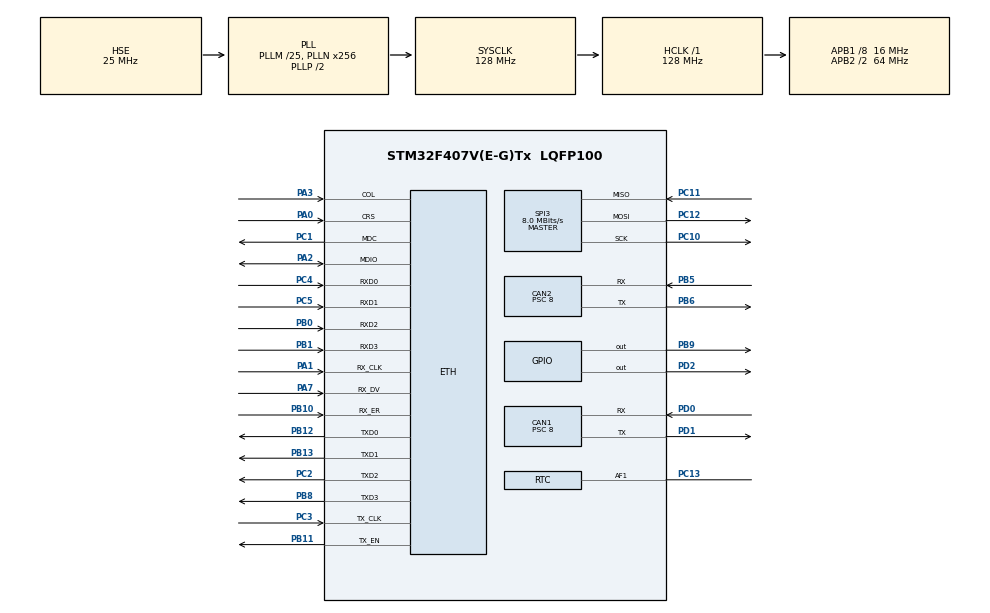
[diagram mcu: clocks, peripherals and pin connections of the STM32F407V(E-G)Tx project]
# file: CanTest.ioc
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CAN1.BS1=CAN_BS1_13TQ
CAN1.BS2=CAN_BS2_2TQ
CAN1.CalculateTimeQuantum=500.0
CAN1.Mode=CAN_MODE_SILENT
CAN1.Prescaler=8
CAN2.BS1=CAN_BS1_13TQ
CAN2.BS2=CAN_BS2_2TQ
CAN2.CalculateTimeQuantum=500.0
CAN2.Mode=CAN_MODE_NORMAL
CAN2.Prescaler=8
ETH.AutoNegotiation=ETH_AUTONEGOTIATION_ENABLE
ETH.MediaInterface=ETH_MEDIA_INTERFACE_MII
ETH.PHY_Name_MII=userPHY
FREERTOS.Tasks01=defaultTask,0,256,StartDefaultTask,Default,NULL,Dynamic,NULL,NULL;spiTask,0,256,SPISheduler,Default,NULL,Dynamic,NULL,NULL
FREERTOS.configTOTAL_HEAP_SIZE=32768
LWIP.GATEWAY_ADDRESS=192.168.100.001
LWIP.IP_ADDRESS=192.168.100.087
LWIP.LWIP_DHCP=0
LWIP.LWIP_TCP=0
LWIP.MEMP_NUM_PBUF=24
LWIP.MEMP_NUM_TCP_PCB=1
LWIP.MEMP_NUM_TCP_PCB_LISTEN=1
LWIP.MEMP_NUM_TCP_SEG=4
LWIP.MEM_SIZE=8192
LWIP.NETMASK_ADDRESS=255.255.255.000
LWIP.Version=v2.0.3_Cube
Mcu.Family=STM32F4
Mcu.Name=STM32F407V(E-G)Tx
Mcu.Package=LQFP100
NVIC.CAN1_RX0_IRQn=true\:5\:0\:false\:false\:true\:true\:true
NVIC.CAN1_RX1_IRQn=true\:5\:0\:false\:false\:true\:true\:true
NVIC.CAN2_TX_IRQn=true\:5\:0\:false\:false\:true\:true\:true
NVIC.ETH_IRQn=true\:5\:0\:false\:false\:true\:true\:false
NVIC.PriorityGroup=NVIC_PRIORITYGROUP_4
NVIC.TIM1_UP_TIM10_IRQn=true\:0\:0\:false\:false\:true\:false\:false
NVIC.TimeBase=TIM1_UP_TIM10_IRQn
NVIC.TimeBaseIP=TIM1
PA0-WKUP.Mode=MII
PA0-WKUP.Signal=ETH_CRS
PA1.Mode=MII
PA1.Signal=ETH_RX_CLK
PA2.Mode=MII
PA2.Signal=ETH_MDIO
PA3.Mode=MII
PA3.Signal=ETH_COL
PA7.Mode=MII
PA7.Signal=ETH_RX_DV
PB0.Mode=MII
PB0.Signal=ETH_RXD2
PB1.Mode=MII
PB1.Signal=ETH_RXD3
PB10.Mode=Activate Rx Err signal
PB10.Signal=ETH_RX_ER
PB11.Mode=MII
PB11.Signal=ETH_TX_EN
PB12.Mode=MII
PB12.Signal=ETH_TXD0
PB13.Mode=MII
PB13.Signal=ETH_TXD1
PB5.Mode=Slave
PB5.Signal=CAN2_RX
PB6.Mode=Slave
PB6.Signal=CAN2_TX
PB8.Mode=MII
PB8.Signal=ETH_TXD3
PB9.Signal=GPIO_Output
PC1.Mode=MII
PC1.Signal=ETH_MDC
PC10.Mode=Full_Duplex_Master
PC10.Signal=SPI3_SCK
PC11.Mode=Full_Duplex_Master
PC11.Signal=SPI3_MISO
PC12.Mode=Full_Duplex_Master
PC12.Signal=SPI3_MOSI
PC13-ANTI_TAMP.Mode=Calibration_1Hz
PC13-ANTI_TAMP.Signal=RTC_AF1
PC2.Mode=MII
PC2.Signal=ETH_TXD2
PC3.Mode=MII
PC3.Signal=ETH_TX_CLK
PC4.Mode=MII
PC4.Signal=ETH_RXD0
PC5.Mode=MII
PC5.Signal=ETH_RXD1
PD0.Mode=Master
PD0.Signal=CAN1_RX
PD1.Mode=Master
PD1.Signal=CAN1_TX
PD2.Signal=GPIO_Output
PH0-OSC_IN.Mode=HSE-External-Oscillator
PH0-OSC_IN.Signal=RCC_OSC_IN
PH1-OSC_OUT.Mode=HSE-External-Oscillator
PH1-OSC_OUT.Signal=RCC_OSC_OUT
ProjectManager.HeapSize=0x2000
ProjectManager.StackSize=0x4000
ProjectManager.TargetToolchain=TrueSTUDIO
RCC.48MHZClocksFreq_Value=64000000
RCC.AHBFreq_Value=128000000
RCC.APB1CLKDivider=RCC_HCLK_DIV8
RCC.APB1Freq_Value=16000000
RCC.APB1TimFreq_Value=32000000
RCC.APB2CLKDivider=RCC_HCLK_DIV2
RCC.APB2Freq_Value=64000000
RCC.APB2TimFreq_Value=128000000
RCC.CortexFreq_Value=128000000
RCC.HCLKFreq_Value=128000000
RCC.HSE_VALUE=25000000
RCC.HSI_VALUE=16000000
RCC.LSE_VALUE=32768
RCC.PLLM=25
RCC.PLLN=256
RCC.PLLSourceVirtual=RCC_PLLSOURCE_HSE
RCC.RCC_RTC_Clock_SourceVirtual=RCC_RTCCLKSOURCE_HSE_DIV25
RCC.RCC_RTC_Clock_Source_FROM_HSE=RCC_RTCCLKSOURCE_HSE_DIV25
RCC.SYSCLKFreq_VALUE=128000000
RCC.SYSCLKSource=RCC_SYSCLKSOURCE_PLLCLK
RCC.VCOOutputFreq_Value=256000000
RTC.AsynchPrediv=99
RTC.SynchPrediv=9999
SPI3.CalculateBaudRate=8.0 MBits/s
SPI3.Direction=SPI_DIRECTION_2LINES
SPI3.Mode=SPI_MODE_MASTER
SPI3.VirtualType=VM_MASTER
VP_FREERTOS_VS_ENABLE.Mode=Enabled
VP_LWIP_VS_Enabled.Mode=Enabled
VP_RTC_VS_RTC_Activate.Mode=RTC_Enabled
VP_SYS_VS_tim1.Mode=TIM1
board=custom

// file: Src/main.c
/**
  ******************************************************************************
  * @file           : main.c
  * @brief          : Main program body
  ******************************************************************************
  * This notice applies to any and all portions of this file
  * that are not between comment pairs USER CODE BEGIN and
  * USER CODE END. Other portions of this file, whether
  * inserted by the user or by software development tools
  * are owned by their respective copyright owners.
  *
  * Copyright (c) 2018 STMicroelectronics International N.V.
  * All rights reserved.
  *
  * Redistribution and use in source and binary forms, with or without
  * modification, are permitted, provided that the following conditions are met:
  *
  * 1. Redistribution of source code must retain the above copyright notice,
  *    this list of conditions and the following disclaimer.
  * 2. Redistributions in binary form must reproduce the above copyright notice,
  *    this list of conditions and the following disclaimer in the documentation
  *    and/or other materials provided with the distribution.
  * 3. Neither the name of STMicroelectronics nor the names of other
  *    contributors to this software may be used to endorse or promote products
  *    derived from this software without specific written permission.
  * 4. This software, including modifications and/or derivative works of this
  *    software, must execute solely and exclusively on microcontroller or
  *    microprocessor devices manufactured by or for STMicroelectronics.
  * 5. Redistribution and use of this software other than as permitted under
  *    this license is void and will automatically terminate your rights under
  *    this license.
  *
  * THIS SOFTWARE IS PROVIDED BY STMICROELECTRONICS AND CONTRIBUTORS "AS IS"
  * AND ANY EXPRESS, IMPLIED OR STATUTORY WARRANTIES, INCLUDING, BUT NOT
  * LIMITED TO, THE IMPLIED WARRANTIES OF MERCHANTABILITY, FITNESS FOR A
  * PARTICULAR PURPOSE AND NON-INFRINGEMENT OF THIRD PARTY INTELLECTUAL PROPERTY
  * RIGHTS ARE DISCLAIMED TO THE FULLEST EXTENT PERMITTED BY LAW. IN NO EVENT
  * SHALL STMICROELECTRONICS OR CONTRIBUTORS BE LIABLE FOR ANY DIRECT, INDIRECT,
  * INCIDENTAL, SPECIAL, EXEMPLARY, OR CONSEQUENTIAL DAMAGES (INCLUDING, BUT NOT
  * LIMITED TO, PROCUREMENT OF SUBSTITUTE GOODS OR SERVICES; LOSS OF USE, DATA,
  * OR PROFITS; OR BUSINESS INTERRUPTION) HOWEVER CAUSED AND ON ANY THEORY OF
  * LIABILITY, WHETHER IN CONTRACT, STRICT LIABILITY, OR TORT (INCLUDING
  * NEGLIGENCE OR OTHERWISE) ARISING IN ANY WAY OUT OF THE USE OF THIS SOFTWARE,
  * EVEN IF ADVISED OF THE POSSIBILITY OF SUCH DAMAGE.
  *
  ******************************************************************************
  */
#include "main.h"
#include "stm32f4xx_hal.h"
#include "cmsis_os.h"
#include "lwip.h"

/* USER CODE BEGIN Includes */

#include "spi_flash.h"
#include "udp_echoserver.h"
#include "canViewer.h"
#include "canDebugMaster.h"
#include "canLogger.h"
#include "datetime.h"
#include "flash_if.h"

/* USER CODE END Includes */

CAN_HandleTypeDef hcan1;
CAN_HandleTypeDef hcan2;

RTC_HandleTypeDef hrtc;

SPI_HandleTypeDef hspi3;

osThreadId defaultTaskHandle;
osThreadId spiTaskHandle;

/* USER CODE BEGIN PV */
/* Private variables ---------------------------------------------------------*/

osThreadId canDebugTaskHandle;
osThreadId canViewerTaskHandle;
osThreadId canLoggerTaskHandle;
osThreadId datetimeTaskHandle;

unsigned short led_cnt=0;
unsigned short led_limit = 2000;

unsigned char fl_buf[528];
unsigned short pageNumber=0;
unsigned short buf_cnt=0;

/* USER CODE END PV */

void SystemClock_Config(void);
static void MX_GPIO_Init(void);
static void MX_SPI3_Init(void);
static void MX_CAN1_Init(void);
static void MX_CAN2_Init(void);
static void MX_RTC_Init(void);
void StartDefaultTask(void const * argument);
void SPISheduler(void const * argument);

/* USER CODE BEGIN PFP */
/* Private function prototypes -----------------------------------------------*/

/* USER CODE END PFP */

int main(void)
{

  /* MCU Configuration----------------------------------------------------------*/

  /* Reset of all peripherals, Initializes the Flash interface and the Systick. */
  HAL_Init();

  /* Configure the system clock */
  SystemClock_Config();

  /* Initialize all configured peripherals */
  MX_GPIO_Init();
  MX_SPI3_Init();
  MX_CAN1_Init();
  MX_CAN2_Init();
  MX_RTC_Init();
  /* USER CODE BEGIN 2 */

  FLASH_If_Init();
  HAL_FLASH_Program(FLASH_TYPEPROGRAM_WORD, 0x8010000,  0x01020304);

  if(!(*(volatile uint32_t *) (BDCR_RTCEN_BB)))__HAL_RCC_RTC_ENABLE();
  initLogger();

  /* USER CODE END 2 */

  /* Create the thread(s) */
  /* definition and creation of defaultTask */
  osThreadDef(defaultTask, StartDefaultTask, osPriorityNormal, 0, 256);
  defaultTaskHandle = osThreadCreate(osThread(defaultTask), NULL);

  /* definition and creation of spiTask */
  osThreadDef(spiTask, SPISheduler, osPriorityNormal, 0, 256);
  spiTaskHandle = osThreadCreate(osThread(spiTask), NULL);

  /* USER CODE BEGIN RTOS_THREADS */
  osThreadDef(canViewer, canViewerTask, osPriorityNormal, 0, 256);
  canViewerTaskHandle = osThreadCreate(osThread(canViewer), NULL);

  osThreadDef(canDebugger, canDebugTask, osPriorityNormal, 0, 256);
  canDebugTaskHandle = osThreadCreate(osThread(canDebugger), NULL);

  osThreadDef(canLog, canLoggerTask, osPriorityNormal, 0, 256);
  canLoggerTaskHandle = osThreadCreate(osThread(canLog), NULL);

  osThreadDef(dateTime, datetimeTask, osPriorityNormal, 0, 256);
  datetimeTaskHandle = osThreadCreate(osThread(dateTime), NULL);
  /* add threads, ... */
  /* USER CODE END RTOS_THREADS */

  /* Start scheduler */
  osKernelStart();

  /* We should never get here as control is now taken by the scheduler */

  /* Infinite loop */
  while (1)
  {

  }

}

void SystemClock_Config(void)
{

  RCC_OscInitTypeDef RCC_OscInitStruct;
  RCC_ClkInitTypeDef RCC_ClkInitStruct;
  RCC_PeriphCLKInitTypeDef PeriphClkInitStruct;

    /**Configure the main internal regulator output voltage
    */
  __HAL_RCC_PWR_CLK_ENABLE();

  __HAL_PWR_VOLTAGESCALING_CONFIG(PWR_REGULATOR_VOLTAGE_SCALE1);

    /**Initializes the CPU, AHB and APB busses clocks
    */
  RCC_OscInitStruct.OscillatorType = RCC_OSCILLATORTYPE_HSE;
  RCC_OscInitStruct.HSEState = RCC_HSE_ON;
  RCC_OscInitStruct.PLL.PLLState = RCC_PLL_ON;
  RCC_OscInitStruct.PLL.PLLSource = RCC_PLLSOURCE_HSE;
  RCC_OscInitStruct.PLL.PLLM = 25;
  RCC_OscInitStruct.PLL.PLLN = 256;
  RCC_OscInitStruct.PLL.PLLP = RCC_PLLP_DIV2;
  RCC_OscInitStruct.PLL.PLLQ = 4;
  if (HAL_RCC_OscConfig(&RCC_OscInitStruct) != HAL_OK)
  {
    _Error_Handler(__FILE__, __LINE__);
  }

    /**Initializes the CPU, AHB and APB busses clocks
    */
  RCC_ClkInitStruct.ClockType = RCC_CLOCKTYPE_HCLK|RCC_CLOCKTYPE_SYSCLK
                              |RCC_CLOCKTYPE_PCLK1|RCC_CLOCKTYPE_PCLK2;
  RCC_ClkInitStruct.SYSCLKSource = RCC_SYSCLKSOURCE_PLLCLK;
  RCC_ClkInitStruct.AHBCLKDivider = RCC_SYSCLK_DIV1;
  RCC_ClkInitStruct.APB1CLKDivider = RCC_HCLK_DIV8;
  RCC_ClkInitStruct.APB2CLKDivider = RCC_HCLK_DIV2;

  if (HAL_RCC_ClockConfig(&RCC_ClkInitStruct, FLASH_LATENCY_4) != HAL_OK)
  {
    _Error_Handler(__FILE__, __LINE__);
  }

  PeriphClkInitStruct.PeriphClockSelection = RCC_PERIPHCLK_RTC;
  PeriphClkInitStruct.RTCClockSelection = RCC_RTCCLKSOURCE_HSE_DIV25;
  if (HAL_RCCEx_PeriphCLKConfig(&PeriphClkInitStruct) != HAL_OK)
  {
    _Error_Handler(__FILE__, __LINE__);
  }

    /**Configure the Systick interrupt time
    */
  HAL_SYSTICK_Config(HAL_RCC_GetHCLKFreq()/1000);

    /**Configure the Systick
    */
  HAL_SYSTICK_CLKSourceConfig(SYSTICK_CLKSOURCE_HCLK);

  /* SysTick_IRQn interrupt configuration */
  HAL_NVIC_SetPriority(SysTick_IRQn, 15, 0);
}

/* CAN1 init function */
static void MX_CAN1_Init(void)
{

  hcan1.Instance = CAN1;
  hcan1.Init.Prescaler = 8;
  hcan1.Init.Mode = CAN_MODE_SILENT;
  hcan1.Init.SyncJumpWidth = CAN_SJW_1TQ;
  hcan1.Init.TimeSeg1 = CAN_BS1_13TQ;
  hcan1.Init.TimeSeg2 = CAN_BS2_2TQ;
  hcan1.Init.TimeTriggeredMode = DISABLE;
  hcan1.Init.AutoBusOff = DISABLE;
  hcan1.Init.AutoWakeUp = DISABLE;
  hcan1.Init.AutoRetransmission = DISABLE;
  hcan1.Init.ReceiveFifoLocked = DISABLE;
  hcan1.Init.TransmitFifoPriority = DISABLE;
  if (HAL_CAN_Init(&hcan1) != HAL_OK)
  {
    _Error_Handler(__FILE__, __LINE__);
  }

}

/* CAN2 init function */
static void MX_CAN2_Init(void)
{

  hcan2.Instance = CAN2;
  hcan2.Init.Prescaler = 8;
  hcan2.Init.Mode = CAN_MODE_NORMAL;
  hcan2.Init.SyncJumpWidth = CAN_SJW_1TQ;
  hcan2.Init.TimeSeg1 = CAN_BS1_13TQ;
  hcan2.Init.TimeSeg2 = CAN_BS2_2TQ;
  hcan2.Init.TimeTriggeredMode = DISABLE;
  hcan2.Init.AutoBusOff = DISABLE;
  hcan2.Init.AutoWakeUp = DISABLE;
  hcan2.Init.AutoRetransmission = DISABLE;
  hcan2.Init.ReceiveFifoLocked = DISABLE;
  hcan2.Init.TransmitFifoPriority = DISABLE;
  if (HAL_CAN_Init(&hcan2) != HAL_OK)
  {
    _Error_Handler(__FILE__, __LINE__);
  }

}

/* RTC init function */
static void MX_RTC_Init(void)
{

  /* USER CODE BEGIN RTC_Init 0 */

	RTC_DateTypeDef sDate;
	  RTC_TimeTypeDef sTime;

  /* USER CODE END RTC_Init 0 */

    /**Initialize RTC Only
    */
  hrtc.Instance = RTC;
  hrtc.Init.HourFormat = RTC_HOURFORMAT_24;
  hrtc.Init.AsynchPrediv = 99;
  hrtc.Init.SynchPrediv = 9999;
  hrtc.Init.OutPut = RTC_OUTPUT_DISABLE;
  hrtc.Init.OutPutPolarity = RTC_OUTPUT_POLARITY_HIGH;
  hrtc.Init.OutPutType = RTC_OUTPUT_TYPE_OPENDRAIN;
  if (HAL_RTC_Init(&hrtc) != HAL_OK)
  {
    _Error_Handler(__FILE__, __LINE__);
  }
  /* USER CODE BEGIN RTC_Init 2 */

  HAL_RTCEx_EnableBypassShadow(&hrtc);

  if(HAL_RTCEx_BKUPRead(&hrtc, RTC_BKP_DR1) != 0x32F3)
  {
	sTime.Hours = 0;
	sTime.Minutes = 00;
	sTime.Seconds = 0;
	sTime.DayLightSaving = RTC_DAYLIGHTSAVING_NONE;
	sTime.StoreOperation = RTC_STOREOPERATION_RESET;
	HAL_RTC_SetTime(&hrtc, &sTime, RTC_FORMAT_BIN);

	//sDate.WeekDay = RTC_WEEKDAY_MONDAY;
	sDate.Month = 1;
	sDate.Date = 1;
	sDate.Year = 00;

	HAL_RTC_SetDate(&hrtc, &sDate, RTC_FORMAT_BIN);
	HAL_RTCEx_BKUPWrite(&hrtc, RTC_BKP_DR1, 0x32F3);
	HAL_RTCEx_BKUPWrite(&hrtc, RTC_BKP_DR2, 0);
  }

  pageNumber = HAL_RTCEx_BKUPRead(&hrtc, RTC_BKP_DR2);
  if(pageNumber>=8192) pageNumber = 0;

  /* USER CODE END RTC_Init 2 */

    /**Enable Calibrartion
    */
  if (HAL_RTCEx_SetCalibrationOutPut(&hrtc, RTC_CALIBOUTPUT_1HZ) != HAL_OK)
  {
    _Error_Handler(__FILE__, __LINE__);
  }

}

/* SPI3 init function */
static void MX_SPI3_Init(void)
{

  /* SPI3 parameter configuration*/
  hspi3.Instance = SPI3;
  hspi3.Init.Mode = SPI_MODE_MASTER;
  hspi3.Init.Direction = SPI_DIRECTION_2LINES;
  hspi3.Init.DataSize = SPI_DATASIZE_8BIT;
  hspi3.Init.CLKPolarity = SPI_POLARITY_LOW;
  hspi3.Init.CLKPhase = SPI_PHASE_1EDGE;
  hspi3.Init.NSS = SPI_NSS_SOFT;
  hspi3.Init.BaudRatePrescaler = SPI_BAUDRATEPRESCALER_2;
  hspi3.Init.FirstBit = SPI_FIRSTBIT_MSB;
  hspi3.Init.TIMode = SPI_TIMODE_DISABLE;
  hspi3.Init.CRCCalculation = SPI_CRCCALCULATION_DISABLE;
  hspi3.Init.CRCPolynomial = 10;
  if (HAL_SPI_Init(&hspi3) != HAL_OK)
  {
    _Error_Handler(__FILE__, __LINE__);
  }

}

/** Configure pins as
        * Analog
        * Input
        * Output
        * EVENT_OUT
        * EXTI
*/
static void MX_GPIO_Init(void)
{

  GPIO_InitTypeDef GPIO_InitStruct;

  /* GPIO Ports Clock Enable */
  __HAL_RCC_GPIOC_CLK_ENABLE();
  __HAL_RCC_GPIOH_CLK_ENABLE();
  __HAL_RCC_GPIOA_CLK_ENABLE();
  __HAL_RCC_GPIOB_CLK_ENABLE();
  __HAL_RCC_GPIOD_CLK_ENABLE();

  /*Configure GPIO pin Output Level */
  HAL_GPIO_WritePin(GPIOD, GPIO_PIN_2, GPIO_PIN_RESET);

  /*Configure GPIO pin Output Level */
  HAL_GPIO_WritePin(GPIOB, GPIO_PIN_9, GPIO_PIN_RESET);

  /*Configure GPIO pin : PD2 */
  GPIO_InitStruct.Pin = GPIO_PIN_2;
  GPIO_InitStruct.Mode = GPIO_MODE_OUTPUT_PP;
  GPIO_InitStruct.Pull = GPIO_NOPULL;
  GPIO_InitStruct.Speed = GPIO_SPEED_FREQ_LOW;
  HAL_GPIO_Init(GPIOD, &GPIO_InitStruct);

  /*Configure GPIO pin : PB9 */
  GPIO_InitStruct.Pin = GPIO_PIN_9;
  GPIO_InitStruct.Mode = GPIO_MODE_OUTPUT_PP;
  GPIO_InitStruct.Pull = GPIO_NOPULL;
  GPIO_InitStruct.Speed = GPIO_SPEED_FREQ_LOW;
  HAL_GPIO_Init(GPIOB, &GPIO_InitStruct);

}

/* StartDefaultTask function */
void StartDefaultTask(void const * argument)
{
  /* init code for LWIP */
  MX_LWIP_Init();

  /* USER CODE BEGIN 5 */
  udp_echoserver_init();

  /*for(pageNum=0;pageNum<8192;pageNum++) {

  	  for(buf_cnt=0;buf_cnt<528;buf_cnt++) {fl_buf[buf_cnt]=(pageNum+buf_cnt) & 0xFF;}
  	  write_page(pageNum,fl_buf);
  	  if(pageNum%2==0) HAL_GPIO_TogglePin(GPIOB,GPIO_PIN_9);
  	  osDelay(1);
    }

    for(pageNum=0;pageNum<8192;pageNum++) {
  	  read_page(pageNum,fl_buf);
  	  for(buf_cnt=0;buf_cnt<528;buf_cnt++) {if(fl_buf[buf_cnt]!=((pageNum + buf_cnt) & 0xFF)) led_limit=100;}
  	  //if(pageNum%50==0) HAL_GPIO_TogglePin(GPIOB,GPIO_PIN_9);
    }*/

  /* Infinite loop */
  for(;;)
  {
	  led_cnt++;
	  if(led_cnt>=led_limit) {
		  led_cnt=0;
		  //HAL_GPIO_TogglePin(GPIOB,GPIO_PIN_9);
	  }
	  osDelay(1);
  }
  /* USER CODE END 5 */
}

/* SPISheduler function */
void SPISheduler(void const * argument)
{
  for(;;)
  {
    osDelay(1);
  }
}

void HAL_TIM_PeriodElapsedCallback(TIM_HandleTypeDef *htim)
{
  if (htim->Instance == TIM1) {
    HAL_IncTick();
  }
}

void _Error_Handler(char *file, int line)
{
  while(1)
  {
  }
}

/************************ (C) COPYRIGHT STMicroelectronics *****END OF FILE****/
